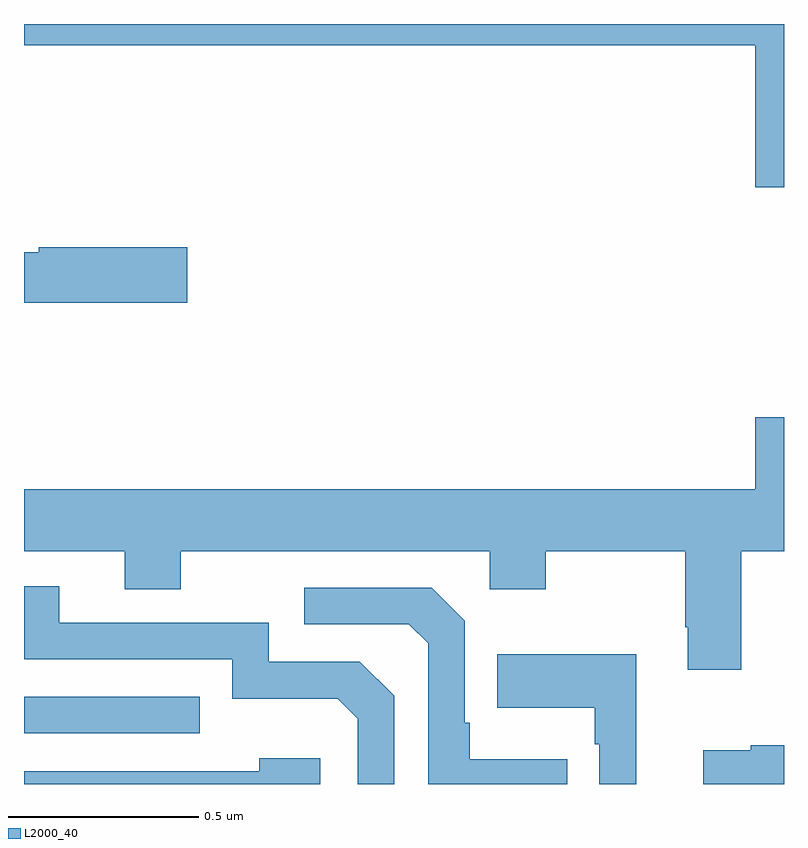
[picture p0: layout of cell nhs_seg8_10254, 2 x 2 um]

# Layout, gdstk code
import gdstk
lib = gdstk.Library(unit=1e-6, precision=1e-09)
def R(c, l, rs):  # rectangles x0, y0, x1, y1
    for r in rs: c.add(gdstk.rectangle(r[:2], r[2:], *l))
def P(c, l, *ps):  # polygons
    for p in ps: c.add(gdstk.Polygon(p, *l))
L2000_40 = (2000, 40)

nhs_seg8_10254 = lib.new_cell('nhs_seg8_10254')
R(nhs_seg8_10254, L2000_40, [(247,1104.033,247.463,1104.129)])
P(nhs_seg8_10254, L2000_40, [(249,1105.9),(247,1105.9),(247,1105.844),(248.924,1105.844),(248.924,1105.47),(249,1105.47)],
  [(247.429,1105.313),(247.039,1105.313),(247.039,1105.3),(247,1105.3),(247,1105.166),(247.429,1105.166)],
  [(248.887,1104.512),(249,1104.512),(249,1104.865),(248.924,1104.865),(248.924,1104.676),(247,1104.676),(247,1104.512),(247.265,1104.512),(247.265,1104.413),(247.413,1104.413),(247.413,1104.512),(248.226,1104.512),(248.226,1104.413),(248.373,1104.413),(248.373,1104.512),(248.74,1104.512),(248.74,1104.313),(248.747,1104.313),(248.747,1104.201),(248.887,1104.201)],
  [(247.974,1104.132),(247.884,1104.222),(247.644,1104.222),(247.644,1104.324),(247.093,1104.324),(247.093,1104.42),(247,1104.42),(247,1104.228),(247.548,1104.228),(247.548,1104.125),(247.825,1104.125),(247.878,1104.072),(247.878,1103.9),(247.974,1103.9)],
  [(248.429,1103.965),(248.173,1103.965),(248.173,1104.061),(248.16,1104.061),(248.16,1104.33),(248.073,1104.417),(247.737,1104.417),(247.737,1104.321),(248.013,1104.321),(248.064,1104.27),(248.064,1103.9),(248.429,1103.9)],
  [(248.611,1104.241),(248.245,1104.241),(248.245,1104.101),(248.502,1104.101),(248.502,1104.005),(248.514,1104.005),(248.514,1103.9),(248.611,1103.9)],
  [(249,1104.002),(248.913,1104.002),(248.913,1103.989),(248.787,1103.989),(248.787,1103.9),(249,1103.9)],
  [(247.78,1103.968),(247.619,1103.968),(247.619,1103.934),(247,1103.934),(247,1103.9),(247.78,1103.9)])

lib.write_gds('nhs_seg8_10254.gds')
